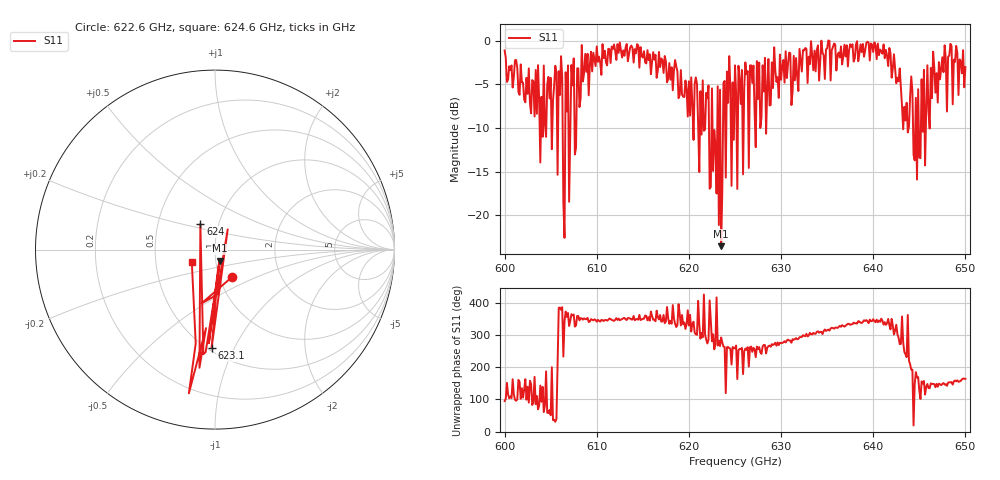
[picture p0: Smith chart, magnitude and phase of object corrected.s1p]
!Created with skrf (http://scikit-rf.org).
# GHz S MA R 50.0
!freq magS11 angS11
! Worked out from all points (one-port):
!   401 points, 600 GHz to 650 GHz, reference 50 ohm
!   lowest |S11| = -23.5 dB at 623.5 GHz (marker M1), VSWR 1.14, Z = 52.3 - j6.43 ohm
!   |S11| at or under -10 dB: 606.3008 GHz to 606.583 GHz (282.2 MHz wide, 0.0465 % of centre); 606.9323 GHz to 607.1323 GHz (200 MHz wide, 0.0329 % of centre); 622.5598 GHz to 623.0765 GHz (516.7 MHz wide, 0.083 % of centre) (the widest 3 of 33)
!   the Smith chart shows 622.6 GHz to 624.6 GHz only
!   S11 on the Smith chart (normalised r, x): 622.6 GHz: 1.16, -0.36; 623.1 GHz: 0.52, -0.82; 624 GHz: 0.82, +0.24; 624.6 GHz: 0.76, -0.11
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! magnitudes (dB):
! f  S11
! 600 GHz  -1.1
! 604.1 GHz  -11.0
! 606 GHz  -6.2
! 606.2 GHz  -4.2
! 607.9 GHz  -3.2
! 608.6 GHz  -3.7
! 612.5 GHz  -0.2
! 618.8 GHz  -3.6
! 621.1 GHz  -15.0
! 621.9 GHz  -6.0
! 622.6 GHz  -14.9
! 623.1 GHz  -5.2
! 623.5 GHz  -23.5
! 623.6 GHz  -17.0
! 623.8 GHz  -4.8
! 624 GHz  -15.7
! 624.6 GHz  -16.6
! 625 GHz  -2.8
! 626.9 GHz  -4.8
! 627.5 GHz  -6.7
! 630.8 GHz  -2.7
! 631.2 GHz  -5.8
! 637.5 GHz  -0.4
! 641.6 GHz  -2.9
! 643.8 GHz  -10.5
! 644.9 GHz  -5.6
! 647.6 GHz  -3.6
! 650 GHz  -3.0
